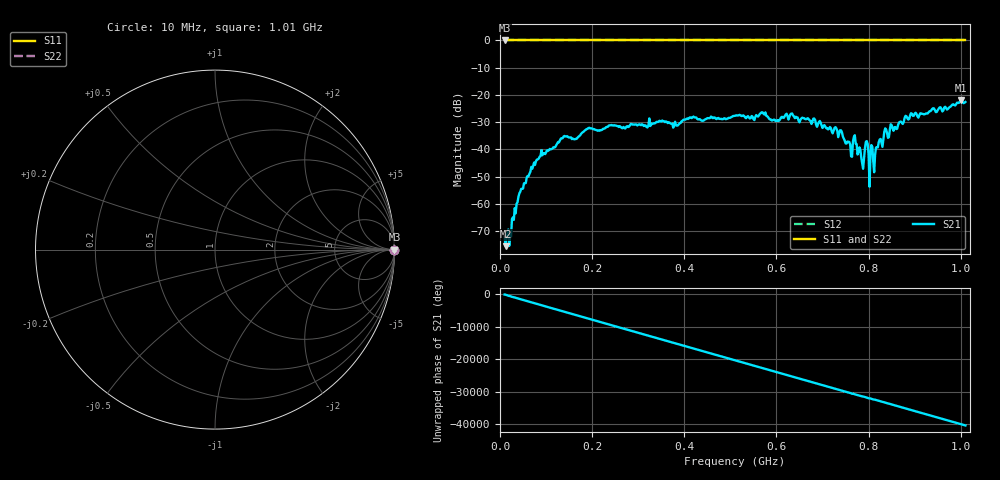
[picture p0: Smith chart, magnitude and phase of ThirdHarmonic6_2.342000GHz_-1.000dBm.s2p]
! 8/17/2025 3:28:13 AM
! C:\ANRITSUVNA\TEMP\TEMP.S2P
! CHANNEL.1
! TR.MEASUREMENT
! RAW.DATA
! RF.CORRECTION.OFF
! AVERAGING.OFF
! IF.BANDWIDTH: 5KHZ
! SWEEPTYPE:  FREQ.SWEEP(Linear)
! Reference Plane Port Info
! PORT:  PORT1  PORT2
! DISTANCE:  0  m  0  m
! TIME:  0  s  0  s
! PHASE.OFFSET:  0  deg.  0  deg.
! LOSS:  0  dB  0  dB
! REF.LOSS:  0  dB  0  dB
! REF.FREQ:  0  Hz  0  Hz
! Power Info
! POWER:  -20  dBm  -20  dBm
! EFF.POWER:  -20  dBm  -20  dBm
! SOURCE.ATTEN:  0  dB  0  dB
! TEST.ATTEN:  0  dB  0  dB
# GHZ S RI R 50.0
! FREQ.GHZ  S11RE  S11IM  S21RE  S21IM  S12RE  S12IM  S22RE  S22IM
!; PortSelection: Port_12
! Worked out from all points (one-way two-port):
!   501 points, 10 MHz to 1.01 GHz, reference 50 ohm
!   highest |S21| = -21.82 dB at 1 GHz (marker M1); lowest = -75.5 dB at 12 MHz (marker M2)
!   lowest |S11| = 0.0 dB at 10 MHz (marker M3)
!   |S11| at or under -10 dB: nowhere
!   |S22| runs from 0.0 to 0.0 dB; largest |S21 - S12| = 1.1
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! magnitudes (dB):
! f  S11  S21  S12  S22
! 10 MHz  0.0  -72.0  0.0  0.0
! 12 MHz  0.0  -75.5  0.0  0.0
! 24 MHz  0.0  -72.0  0.0  0.0
! 44 MHz  0.0  -55.5  0.0  0.0
! 86 MHz  0.0  -42.7  0.0  0.0
! 136 MHz  0.0  -35.9  0.0  0.0
! 178 MHz  0.0  -33.9  0.0  0.0
! 344 MHz  0.0  -29.9  0.0  0.0
! 510 MHz  0.0  -27.7  0.0  0.0
! 678 MHz  0.0  -29.8  0.0  0.0
! 740 MHz  0.0  -33.0  0.0  0.0
! 760 MHz  0.0  -38.2  0.0  0.0
! 770 MHz  0.0  -34.8  0.0  0.0
! 786 MHz  0.0  -45.1  0.0  0.0
! 796 MHz  0.0  -37.0  0.0  0.0
! 800 MHz  0.0  -42.1  0.0  0.0
! 814 MHz  0.0  -42.0  0.0  0.0
! 822 MHz  0.0  -37.4  0.0  0.0
! 844 MHz  0.0  -35.5  0.0  0.0
! 894 MHz  0.0  -26.9  0.0  0.0
! 1 GHz  0.0  -21.8  0.0  0.0
! 1.01 GHz  0.0  -22.6  0.0  0.0
